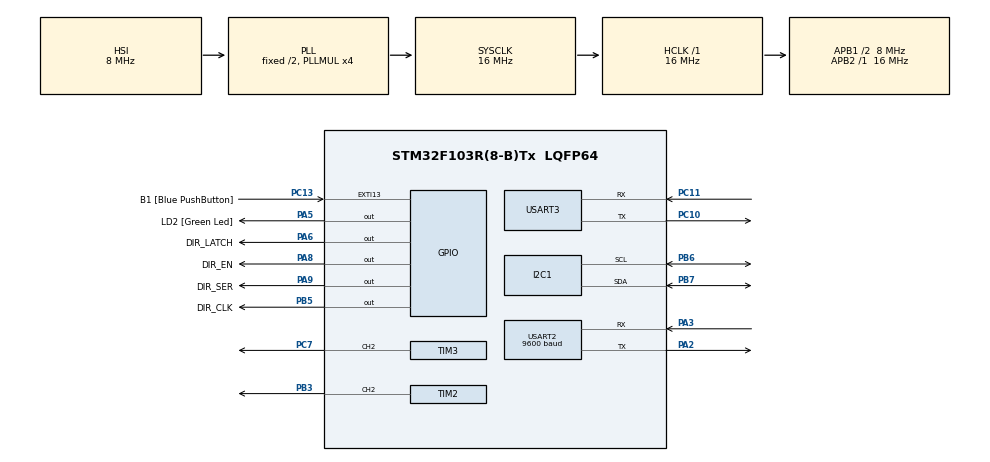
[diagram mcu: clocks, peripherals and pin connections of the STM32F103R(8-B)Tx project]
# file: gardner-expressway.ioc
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Mcu.Family=STM32F1
PC10.Signal=USART3_TX
PA14.GPIO_Label=TCK
PA6.GPIO_Label=DIR_LATCH
TIM2.Channel-PWM\ Generation2\ CH2=TIM_CHANNEL_2
RCC.SYSCLKSource=RCC_SYSCLKSOURCE_PLLCLK
ProjectManager.StackSize=0x400
PD1-OSC_OUT.Signal=RCC_OSC_OUT
RCC.HCLKFreq_Value=16000000
RCC.APB2TimFreq_Value=16000000
TIM3.Period=1000
PB6.Signal=I2C1_SCL
PC7.Signal=S_TIM3_CH2
PB6.Mode=I2C
RCC.AHBFreq_Value=16000000
NVIC.EXTI15_10_IRQn=true\:0\:0\:false\:false\:true\:true\:true
RCC.RTCClockSelection=RCC_RTCCLKSOURCE_LSE
RCC.PLLMUL=RCC_PLL_MUL4
PC14-OSC32_IN.Mode=LSE-External-Oscillator
PA14.Mode=Serial_Wire
TIM3.Prescaler=320
PA5.GPIO_PuPd=GPIO_NOPULL
PB7.Signal=I2C1_SDA
PA8.Signal=GPIO_Output
Mcu.Package=LQFP64
TIM2.Prescaler=320
PA6.Signal=GPIO_Output
USART2.VirtualMode=VM_ASYNC
PC13-TAMPER-RTC.GPIO_PuPd=GPIO_NOPULL
PC11.Mode=Asynchronous
PB5.GPIO_Label=DIR_CLK
RCC.APB1TimFreq_Value=16000000
VP_TIM3_VS_ClockSourceINT.Mode=Internal
PA3.Signal=USART2_RX
PC15-OSC32_OUT.Mode=LSE-External-Oscillator
PD1-OSC_OUT.Mode=HSE-External-Clock-Source
PA9.GPIO_Label=DIR_SER
PC11.Signal=USART3_RX
PC10.Mode=Asynchronous
PC13-TAMPER-RTC.Signal=GPXTI13
PD0-OSC_IN.Signal=RCC_OSC_IN
RCC.APB1CLKDivider=RCC_HCLK_DIV2
PC14-OSC32_IN.Signal=RCC_OSC32_IN
USART2.BaudRate=9600
PA13.Signal=SYS_JTMS-SWDIO
PA3.Mode=Asynchronous
SH.S_TIM2_CH2.0=TIM2_CH2,PWM Generation2 CH2
PA8.GPIO_Label=DIR_EN
ProjectManager.TargetToolchain=STM32CubeIDE
PA9.Signal=GPIO_Output
RCC.USBFreq_Value=16000000
PC15-OSC32_OUT.Signal=RCC_OSC32_OUT
PD0-OSC_IN.Mode=HSE-External-Clock-Source
PA5.Signal=GPIO_Output
SH.S_TIM3_CH2.0=TIM3_CH2,PWM Generation2 CH2
board=NUCLEO-F103RB
PC13-TAMPER-RTC.GPIO_Label=B1 [Blue PushButton]
RCC.APB2Freq_Value=16000000
PA5.GPIO_ModeDefaultOutputPP=GPIO_MODE_OUTPUT_PP
TIM2.Period=1000
PA13.Mode=Serial_Wire
Mcu.Name=STM32F103R(8-B)Tx
PA13.GPIO_Label=TMS
PA2.Signal=USART2_TX
PB3.Signal=S_TIM2_CH2
RCC.SYSCLKFreq_VALUE=16000000
PB5.Signal=GPIO_Output
PA5.GPIO_Label=LD2 [Green Led]
USART3.VirtualMode=VM_ASYNC
PB7.Mode=I2C
PA14.Signal=SYS_JTCK-SWCLK
ProjectManager.HeapSize=0x200
PA5.GPIO_Speed=GPIO_SPEED_FREQ_LOW
NVIC.PriorityGroup=NVIC_PRIORITYGROUP_4
TIM3.Channel-PWM\ Generation2\ CH2=TIM_CHANNEL_2
PA2.Mode=Asynchronous
RCC.APB1Freq_Value=8000000

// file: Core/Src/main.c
/* USER CODE BEGIN Header */
/**
  ******************************************************************************
  * @file           : main.c
  * @brief          : Main program body
  ******************************************************************************
  * @attention
  *
  * <h2><center>&copy; Copyright (c) 2020 STMicroelectronics.
  * All rights reserved.</center></h2>
  *
  * This software component is licensed by ST under BSD 3-Clause license,
  * the "License"; You may not use this file except in compliance with the
  * License. You may obtain a copy of the License at:
  *                        opensource.org/licenses/BSD-3-Clause
  *
  ******************************************************************************
  */
/* USER CODE END Header */
#include "main.h"

/* USER CODE BEGIN Includes */
#include "DCMotor.h"
#include "QMC5883.h"
#include "Bluetooth_BLE_V4.2_JDY-18.h"
#include <math.h>
#include <string.h>
#include <Servo.h>
/* USER CODE END Includes */

/* USER CODE BEGIN PTD */
typedef struct {
  float x;
  float y;
} Point;
/* USER CODE END PTD */

/* USER CODE BEGIN PM */
#define PERIOD 1000
/* USER CODE END PM */

I2C_HandleTypeDef hi2c1;

TIM_HandleTypeDef htim2;
TIM_HandleTypeDef htim3;

UART_HandleTypeDef huart2;
UART_HandleTypeDef huart3;

/* USER CODE BEGIN PV */
QMC_t compass;
Compass_config config;
/* USER CODE END PV */

void SystemClock_Config(void);
static void MX_GPIO_Init(void);
static void MX_TIM3_Init(void);
static void MX_TIM2_Init(void);
static void MX_USART3_UART_Init(void);
static void MX_I2C1_Init(void);
static void MX_USART2_UART_Init(void);
/* USER CODE BEGIN PFP */
void getPowersFromReading(ListDevices_t listOfDevices);
int getAverage(int nbOfEntries, int entries[]);
uint8_t isOutlierInArray(int nbOfEntries, int array[], int value);
Point get_position(float rss1, float rss2, float rss3);
/* USER CODE END PFP */

/* USER CODE BEGIN 0 */
uint8_t angle = 0;
uint8_t speed = 0;
uint8_t offset = 15;
Point b1 = {-19.866733, -43.964666};
int b1Power = 0;
int b2Power = 0;
int b3Power = 0;
/* USER CODE END 0 */

int main(void) {
  // Initialize all peripherals
  HAL_Init();
  SystemClock_Config();
  MX_GPIO_Init();
  MX_TIM3_Init();
  MX_TIM2_Init();
  MX_USART3_UART_Init();
  MX_I2C1_Init();
  MX_USART2_UART_Init();

  // Set up BLE communication and initialize motor and servo
  setupBLE(&huart3, &huart2);
  setDCMotorDirection(0x02);
  initDCMotor(&htim2, TIM_CHANNEL_2, PERIOD);
  set_servo_angle(&htim3,TIM_CHANNEL_2,PERIOD, offset);

  // Initialize variables for PID control
  int8_t error = 0;
  int8_t past_error = 0;
  int8_t P = 0;
  int8_t I = 0;
  int8_t D = 0;
  const float Kp = 1;
  const float Ki = 0.1;
  const float Kd = 1;

  int16_t theta_g = 0;

  // Initialize compass
  compass.ADDR_Control_RegisterA = ADDR_REG_A;
  compass.ADDR_Control_RegisterB = ADDR_REG_B;
  compass.ADDR_Mode_Register = ADDR_REG_MODE;
  compass.ADDR_Status_Register = ADDR_REG_STATUS;

  // Set compass configuration
  config.gain = _1_3;
  config.meas_mode = Positive;
  config.op_mode = Continuous_meas;
  config.output_rate = 15;
  config.samples_num = eight;

  // Initialize compass
  QMC_init(&compass,&hi2c1,&config);

  // Set initial motor speed and delay for 10 seconds
  setDCMotorSpeed(&htim2,TIM_CHANNEL_2,PERIOD,100);
  HAL_Delay(10000);

  // Infinite loop
  while (1) {
	// Read sensors
	ListDevices_t listOfDevices = masterScanForSlaves();
	getPowersFromReading(listOfDevices);
	Point myPosition = get_position(b1Power, b2Power, b3Power);
	free(listOfDevices.devices);
	// Read compass data
	if(!QMC_read(&compass)){
	  theta_g = (int16_t) compass.heading;

	  // Calculate error
	  error = (180.0/M_PI)*(M_PI/2 + atan2((b1.y - myPosition.y), (b1.x - myPosition.x)) - theta_g);

	  // Calculate PID control signal
	  if (error==0){
		I = 0;
	  }
	  P = error;
	  I = I + error;

	  if (I > 45){
		I = 45;
	  }
	  else if (I < -45){
		I = -45;
	  }

	  D = error - past_error;

	  uint8_t PID = (Kp*P) + (Ki*I) + (Kd*D);

	  past_error = error;

	  // Control motors
	  if (PID >= 0){
		angle -= PID;
	  }
	  else{
		angle += PID;
	  }

	  speed = 100;

	  // Set servo angle and motor speed
	  set_servo_angle(&htim3,TIM_CHANNEL_2,PERIOD, angle);
	  setDCMotorSpeed(&htim2,TIM_CHANNEL_2,PERIOD, speed);

	  // Delay for 50 milliseconds
	  HAL_Delay(50);
	}

  }
}
void SystemClock_Config(void)
{
  RCC_OscInitTypeDef RCC_OscInitStruct = {0};
  RCC_ClkInitTypeDef RCC_ClkInitStruct = {0};

  /** Initializes the RCC Oscillators according to the specified parameters
  * in the RCC_OscInitTypeDef structure.
  */
  RCC_OscInitStruct.OscillatorType = RCC_OSCILLATORTYPE_HSI;
  RCC_OscInitStruct.HSIState = RCC_HSI_ON;
  RCC_OscInitStruct.HSICalibrationValue = RCC_HSICALIBRATION_DEFAULT;
  RCC_OscInitStruct.PLL.PLLState = RCC_PLL_ON;
  RCC_OscInitStruct.PLL.PLLSource = RCC_PLLSOURCE_HSI_DIV2;
  RCC_OscInitStruct.PLL.PLLMUL = RCC_PLL_MUL4;
  if (HAL_RCC_OscConfig(&RCC_OscInitStruct) != HAL_OK)
  {
    Error_Handler();
  }
  /** Initializes the CPU, AHB and APB buses clocks
  */
  RCC_ClkInitStruct.ClockType = RCC_CLOCKTYPE_HCLK|RCC_CLOCKTYPE_SYSCLK
                              |RCC_CLOCKTYPE_PCLK1|RCC_CLOCKTYPE_PCLK2;
  RCC_ClkInitStruct.SYSCLKSource = RCC_SYSCLKSOURCE_PLLCLK;
  RCC_ClkInitStruct.AHBCLKDivider = RCC_SYSCLK_DIV1;
  RCC_ClkInitStruct.APB1CLKDivider = RCC_HCLK_DIV2;
  RCC_ClkInitStruct.APB2CLKDivider = RCC_HCLK_DIV1;

  if (HAL_RCC_ClockConfig(&RCC_ClkInitStruct, FLASH_LATENCY_0) != HAL_OK)
  {
    Error_Handler();
  }
}

static void MX_I2C1_Init(void)
{

  hi2c1.Instance = I2C1;
  hi2c1.Init.ClockSpeed = 100000;
  hi2c1.Init.DutyCycle = I2C_DUTYCYCLE_2;
  hi2c1.Init.OwnAddress1 = 0;
  hi2c1.Init.AddressingMode = I2C_ADDRESSINGMODE_7BIT;
  hi2c1.Init.DualAddressMode = I2C_DUALADDRESS_DISABLE;
  hi2c1.Init.OwnAddress2 = 0;
  hi2c1.Init.GeneralCallMode = I2C_GENERALCALL_DISABLE;
  hi2c1.Init.NoStretchMode = I2C_NOSTRETCH_DISABLE;
  if (HAL_I2C_Init(&hi2c1) != HAL_OK)
  {
    Error_Handler();
  }

}

static void MX_TIM2_Init(void)
{

  TIM_MasterConfigTypeDef sMasterConfig = {0};
  TIM_OC_InitTypeDef sConfigOC = {0};

  htim2.Instance = TIM2;
  htim2.Init.Prescaler = 320;
  htim2.Init.CounterMode = TIM_COUNTERMODE_UP;
  htim2.Init.Period = 1000;
  htim2.Init.ClockDivision = TIM_CLOCKDIVISION_DIV1;
  htim2.Init.AutoReloadPreload = TIM_AUTORELOAD_PRELOAD_DISABLE;
  if (HAL_TIM_PWM_Init(&htim2) != HAL_OK)
  {
    Error_Handler();
  }
  sMasterConfig.MasterOutputTrigger = TIM_TRGO_RESET;
  sMasterConfig.MasterSlaveMode = TIM_MASTERSLAVEMODE_DISABLE;
  if (HAL_TIMEx_MasterConfigSynchronization(&htim2, &sMasterConfig) != HAL_OK)
  {
    Error_Handler();
  }
  sConfigOC.OCMode = TIM_OCMODE_PWM1;
  sConfigOC.Pulse = 0;
  sConfigOC.OCPolarity = TIM_OCPOLARITY_HIGH;
  sConfigOC.OCFastMode = TIM_OCFAST_DISABLE;
  if (HAL_TIM_PWM_ConfigChannel(&htim2, &sConfigOC, TIM_CHANNEL_2) != HAL_OK)
  {
    Error_Handler();
  }
  HAL_TIM_MspPostInit(&htim2);

}

static void MX_TIM3_Init(void)
{

  TIM_ClockConfigTypeDef sClockSourceConfig = {0};
  TIM_MasterConfigTypeDef sMasterConfig = {0};
  TIM_OC_InitTypeDef sConfigOC = {0};

  htim3.Instance = TIM3;
  htim3.Init.Prescaler = 320;
  htim3.Init.CounterMode = TIM_COUNTERMODE_UP;
  htim3.Init.Period = 1000;
  htim3.Init.ClockDivision = TIM_CLOCKDIVISION_DIV1;
  htim3.Init.AutoReloadPreload = TIM_AUTORELOAD_PRELOAD_DISABLE;
  if (HAL_TIM_Base_Init(&htim3) != HAL_OK)
  {
    Error_Handler();
  }
  sClockSourceConfig.ClockSource = TIM_CLOCKSOURCE_INTERNAL;
  if (HAL_TIM_ConfigClockSource(&htim3, &sClockSourceConfig) != HAL_OK)
  {
    Error_Handler();
  }
  if (HAL_TIM_PWM_Init(&htim3) != HAL_OK)
  {
    Error_Handler();
  }
  sMasterConfig.MasterOutputTrigger = TIM_TRGO_RESET;
  sMasterConfig.MasterSlaveMode = TIM_MASTERSLAVEMODE_DISABLE;
  if (HAL_TIMEx_MasterConfigSynchronization(&htim3, &sMasterConfig) != HAL_OK)
  {
    Error_Handler();
  }
  sConfigOC.OCMode = TIM_OCMODE_PWM1;
  sConfigOC.Pulse = 0;
  sConfigOC.OCPolarity = TIM_OCPOLARITY_HIGH;
  sConfigOC.OCFastMode = TIM_OCFAST_DISABLE;
  if (HAL_TIM_PWM_ConfigChannel(&htim3, &sConfigOC, TIM_CHANNEL_2) != HAL_OK)
  {
    Error_Handler();
  }
  HAL_TIM_MspPostInit(&htim3);

}

static void MX_USART2_UART_Init(void)
{

  huart2.Instance = USART2;
  huart2.Init.BaudRate = 9600;
  huart2.Init.WordLength = UART_WORDLENGTH_8B;
  huart2.Init.StopBits = UART_STOPBITS_1;
  huart2.Init.Parity = UART_PARITY_NONE;
  huart2.Init.Mode = UART_MODE_TX_RX;
  huart2.Init.HwFlowCtl = UART_HWCONTROL_NONE;
  huart2.Init.OverSampling = UART_OVERSAMPLING_16;
  if (HAL_UART_Init(&huart2) != HAL_OK)
  {
    Error_Handler();
  }

}

static void MX_USART3_UART_Init(void)
{

  huart3.Instance = USART3;
  huart3.Init.BaudRate = 115200;
  huart3.Init.WordLength = UART_WORDLENGTH_8B;
  huart3.Init.StopBits = UART_STOPBITS_1;
  huart3.Init.Parity = UART_PARITY_NONE;
  huart3.Init.Mode = UART_MODE_TX_RX;
  huart3.Init.HwFlowCtl = UART_HWCONTROL_NONE;
  huart3.Init.OverSampling = UART_OVERSAMPLING_16;
  if (HAL_UART_Init(&huart3) != HAL_OK)
  {
    Error_Handler();
  }

}

static void MX_GPIO_Init(void)
{
  GPIO_InitTypeDef GPIO_InitStruct = {0};

  /* GPIO Ports Clock Enable */
  __HAL_RCC_GPIOC_CLK_ENABLE();
  __HAL_RCC_GPIOD_CLK_ENABLE();
  __HAL_RCC_GPIOA_CLK_ENABLE();
  __HAL_RCC_GPIOB_CLK_ENABLE();

  /*Configure GPIO pin Output Level */
  HAL_GPIO_WritePin(GPIOA, LD2_Pin|DIR_LATCH_Pin|DIR_EN_Pin|DIR_SER_Pin, GPIO_PIN_RESET);

  /*Configure GPIO pin Output Level */
  HAL_GPIO_WritePin(DIR_CLK_GPIO_Port, DIR_CLK_Pin, GPIO_PIN_RESET);

  /*Configure GPIO pin : B1_Pin */
  GPIO_InitStruct.Pin = B1_Pin;
  GPIO_InitStruct.Mode = GPIO_MODE_IT_RISING;
  GPIO_InitStruct.Pull = GPIO_NOPULL;
  HAL_GPIO_Init(B1_GPIO_Port, &GPIO_InitStruct);

  /*Configure GPIO pins : LD2_Pin DIR_LATCH_Pin DIR_EN_Pin DIR_SER_Pin */
  GPIO_InitStruct.Pin = LD2_Pin|DIR_LATCH_Pin|DIR_EN_Pin|DIR_SER_Pin;
  GPIO_InitStruct.Mode = GPIO_MODE_OUTPUT_PP;
  GPIO_InitStruct.Pull = GPIO_NOPULL;
  GPIO_InitStruct.Speed = GPIO_SPEED_FREQ_LOW;
  HAL_GPIO_Init(GPIOA, &GPIO_InitStruct);

  /*Configure GPIO pin : DIR_CLK_Pin */
  GPIO_InitStruct.Pin = DIR_CLK_Pin;
  GPIO_InitStruct.Mode = GPIO_MODE_OUTPUT_PP;
  GPIO_InitStruct.Pull = GPIO_NOPULL;
  GPIO_InitStruct.Speed = GPIO_SPEED_FREQ_LOW;
  HAL_GPIO_Init(DIR_CLK_GPIO_Port, &GPIO_InitStruct);

  /* EXTI interrupt init*/
  HAL_NVIC_SetPriority(EXTI15_10_IRQn, 0, 0);
  HAL_NVIC_EnableIRQ(EXTI15_10_IRQn);

}

/* USER CODE BEGIN 4 */
void getPowersFromReading(ListDevices_t listOfDevices) {
	static int b1Powers[5] = {0,0,0,0,0};
	static int b2Powers[5] = {0,0,0,0,0};
	static int b3Powers[5] = {0,0,0,0,0};
	static uint8_t currentIndex = 0;

	uint8_t nbOfDevices = listOfDevices.nbOfDevices;
	Device_t* devices = listOfDevices.devices;
	uint8_t b1Changed = 0, b2Changed = 0, b3Changed = 0;

	// Get the powers from entries
	for (uint8_t i=0; i<nbOfDevices; i++) {
		if(strstr(devices[i].name, "B1") != NULL && !isOutlierInArray(5, b1Powers, devices[i].signalStrength)) {
			b1Powers[currentIndex] = devices[i].signalStrength;
			b1Changed = 1;
		} else if (strstr(devices[i].name, "B2")!= NULL && !isOutlierInArray(5, b2Powers, devices[i].signalStrength)) {
			b2Powers[currentIndex] = devices[i].signalStrength;
			b2Changed = 1;
		} else if (strstr(devices[i].name, "B3")!= NULL && !isOutlierInArray(5, b3Powers, devices[i].signalStrength)) {
			b3Powers[currentIndex] = devices[i].signalStrength;
			b3Changed = 1;
		}
	}

	uint8_t prevIndex = (currentIndex > 0) ? currentIndex-1 : 4;
	if(!b1Changed) b1Powers[currentIndex] = b1Powers[prevIndex];
	if(!b2Changed) b2Powers[currentIndex] = b2Powers[prevIndex];
	if(!b3Changed) b3Powers[currentIndex] = b3Powers[prevIndex];

	b1Power = getAverage(5, b1Powers);
	b2Power = getAverage(5, b2Powers);
	b3Power = getAverage(5, b3Powers);

	currentIndex = (currentIndex >= 4) ? 0 : currentIndex+1;
}

int getAverage(int nbOfEntries, int entries[]) {
	int nonNullEntries = 0;
	int sum = 0;
	for (int i=0; i<nbOfEntries; i++) {
		if(entries[i] != 0)
			nonNullEntries++;
		sum += entries[i];
	}
	return sum/nonNullEntries;
}

uint8_t isOutlierInArray(int nbOfEntries, int array[], int value) {
	int min = array[0], max = array[0];
	for (int i=1; i<nbOfEntries; i++) {
		if (array[i] > max) max = array[i];
		if (array[i] < min) min = array[i];
	}
	return (value > 1.1*max || value < 0.9*min);
}

Point get_position(float rss1, float rss2, float rss3) {

  int8_t P = -69; // Abstract Value, Must be measured

  int8_t N = 2;  // NI

  // getting the distance in meters
  float d1 = pow(10,((P - rss1)/(10*N)));
  float d2 = pow(10,((P - rss2)/(10*N)));
  float d3 = pow(10,((P - rss3)/(10*N)));

  // Define the 3 known points.
  const Point B1 = {-19.866733, -43.9364666};
  const Point B2 = {-19.866425, -43.964556 };
  const Point B3 = {-19.866572, -43.964556 };

  // Calculate the position of the unknown point.

  float A = (-2*B1.x+2*B2.x);
  float B = (-2*B1.y+2*B2.y);
  float C = pow(d1,2)-pow(d2,2)-pow(B1.x,2)+pow(B2.x,2)-pow(B1.y,2)+pow(B2.y,2);
  float D = (-2*B2.x+2*B3.x);
  float E = (-2*B2.y+2*B3.y);
  float F = pow(d2,2)-pow(d3,2)-pow(B2.x,2)+pow(B3.x,2)-pow(B2.y,2)+pow(B2.y,2);

  Point p = {
    .x = ((C*E) - (F*B)) / ((E*A) - (B*D)),
    .y = ((C*D) - (F*A)) / ((B*D) - (A*E))
  };

  return p;
}
/* USER CODE END 4 */

void Error_Handler(void)
{
}

/************************ (C) COPYRIGHT STMicroelectronics *****END OF FILE****/
